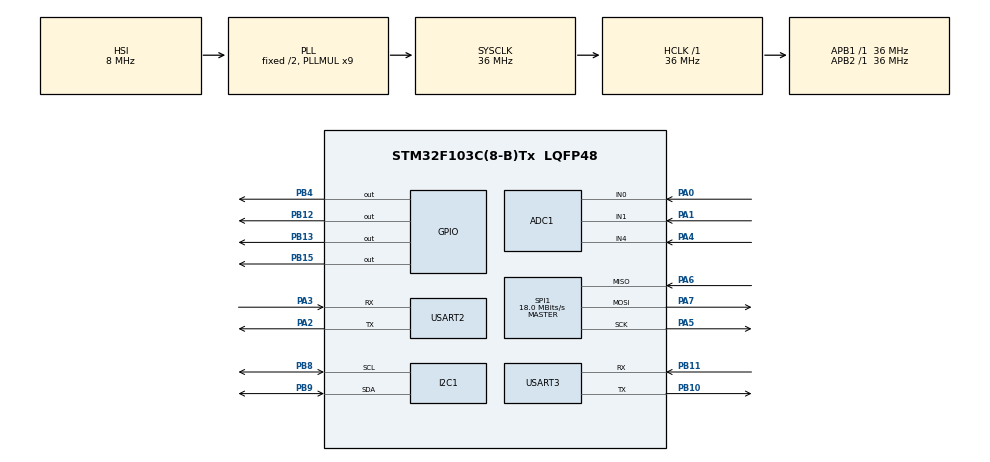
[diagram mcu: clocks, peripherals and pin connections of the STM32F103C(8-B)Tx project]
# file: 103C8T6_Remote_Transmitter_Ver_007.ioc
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ADC1.Channel-0\#ChannelRegularConversion=ADC_CHANNEL_0
ADC1.NbrOfConversionFlag=1
ADC1.Rank-0\#ChannelRegularConversion=1
ADC1.SamplingTime-0\#ChannelRegularConversion=ADC_SAMPLETIME_239CYCLES_5
ADC1.master=1
Mcu.Family=STM32F1
Mcu.Name=STM32F103C(8-B)Tx
Mcu.Package=LQFP48
NVIC.PriorityGroup=NVIC_PRIORITYGROUP_4
NVIC.USART3_IRQn=true\:0\:0\:false\:false\:true\:true\:true\:true
PA0-WKUP.Signal=ADCx_IN0
PA1.Signal=ADCx_IN1
PA13.Mode=Serial_Wire
PA13.Signal=SYS_JTMS-SWDIO
PA14.Mode=Serial_Wire
PA14.Signal=SYS_JTCK-SWCLK
PA2.Mode=Asynchronous
PA2.Signal=USART2_TX
PA3.Mode=Asynchronous
PA3.Signal=USART2_RX
PA4.Signal=ADCx_IN4
PA5.Mode=Full_Duplex_Master
PA5.Signal=SPI1_SCK
PA6.Mode=Full_Duplex_Master
PA6.Signal=SPI1_MISO
PA7.Mode=Full_Duplex_Master
PA7.Signal=SPI1_MOSI
PB10.Mode=Asynchronous
PB10.Signal=USART3_TX
PB11.Mode=Asynchronous
PB11.Signal=USART3_RX
PB12.Signal=GPIO_Output
PB13.Signal=GPIO_Output
PB15.Signal=GPIO_Output
PB4.Signal=GPIO_Output
PB8.Mode=I2C
PB8.Signal=I2C1_SCL
PB9.Mode=I2C
PB9.Signal=I2C1_SDA
PC14-OSC32_IN.Mode=LSE-External-Oscillator
PC14-OSC32_IN.Signal=RCC_OSC32_IN
PC15-OSC32_OUT.Mode=LSE-External-Oscillator
PC15-OSC32_OUT.Signal=RCC_OSC32_OUT
PD0-OSC_IN.Mode=HSE-External-Oscillator
PD0-OSC_IN.Signal=RCC_OSC_IN
PD1-OSC_OUT.Mode=HSE-External-Oscillator
PD1-OSC_OUT.Signal=RCC_OSC_OUT
ProjectManager.HeapSize=0x200
ProjectManager.StackSize=0x400
ProjectManager.TargetToolchain=STM32CubeIDE
RCC.ADCPresc=RCC_ADCPCLK2_DIV4
RCC.AHBFreq_Value=36000000
RCC.APB1Freq_Value=36000000
RCC.APB1TimFreq_Value=36000000
RCC.APB2Freq_Value=36000000
RCC.APB2TimFreq_Value=36000000
RCC.HCLKFreq_Value=36000000
RCC.PLLMUL=RCC_PLL_MUL9
RCC.SYSCLKFreq_VALUE=36000000
RCC.SYSCLKSource=RCC_SYSCLKSOURCE_PLLCLK
RCC.USBFreq_Value=36000000
SH.ADCx_IN0.0=ADC1_IN0,IN0
SH.ADCx_IN1.0=ADC1_IN1,IN1
SH.ADCx_IN4.0=ADC1_IN4,IN4
SPI1.CalculateBaudRate=18.0 MBits/s
SPI1.Direction=SPI_DIRECTION_2LINES
SPI1.Mode=SPI_MODE_MASTER
SPI1.VirtualType=VM_MASTER
USART2.VirtualMode=VM_ASYNC
USART3.VirtualMode=VM_ASYNC
board=custom

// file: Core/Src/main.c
/* USER CODE BEGIN Header */
/**
 ******************************************************************************
 * @file           : main.c
 * @brief          : Main program body
 ******************************************************************************
 * @attention
 *
 * Copyright (c) 2025 STMicroelectronics.
 * All rights reserved.
 *
 * This software is licensed under terms that can be found in the LICENSE file
 * in the root directory of this software component.
 * If no LICENSE file comes with this software, it is provided AS-IS.
 *
 ******************************************************************************
 */
/* USER CODE END Header */
#include "main.h"

/* USER CODE BEGIN Includes */
#include "ssd1306.h"
#include <string.h>
#include <stdio.h>
#include <stdlib.h>
#include <stdint.h>
/* USER CODE END Includes */

/* USER CODE BEGIN PTD */
void Run_NRF24_Test(void);
uint8_t nrf24_read_reg(uint8_t reg);
void nrf24_write_reg(uint8_t reg, uint8_t value);
/* USER CODE END PTD */

/* USER CODE BEGIN PD */
#define LED_PORT   GPIOB
#define LED_PIN    GPIO_PIN_4

#define BUZZ_PORT  GPIOB
#define BUZZ_PIN   GPIO_PIN_14

#define NRF_CMD_R_REGISTER   0x00
#define NRF_CMD_W_REGISTER   0x20

#define NRF_REG_CONFIG       0x00
#define NRF_REG_RF_CH        0x05
#define NRF_REG_RF_SETUP     0x06
#define NRF_REG_STATUS       0x07

// --- nRF24 pin mapping (we are using: CSN=PB12, CE=PB13) ---
#define NRF_CSN_PORT         GPIOB
#define NRF_CSN_PIN          GPIO_PIN_12

#define NRF_CE_PORT          GPIOB
#define NRF_CE_PIN           GPIO_PIN_13

// helper macros
#define CE_HIGH()  HAL_GPIO_WritePin(NRF_CE_PORT, NRF_CE_PIN, GPIO_PIN_SET)
#define CE_LOW()   HAL_GPIO_WritePin(NRF_CE_PORT, NRF_CE_PIN, GPIO_PIN_RESET)
#define CSN_HIGH() HAL_GPIO_WritePin(NRF_CSN_PORT, NRF_CSN_PIN, GPIO_PIN_SET)
#define CSN_LOW()  HAL_GPIO_WritePin(NRF_CSN_PORT, NRF_CSN_PIN, GPIO_PIN_RESET)

/* USER CODE END PD */

ADC_HandleTypeDef hadc1;

I2C_HandleTypeDef hi2c1;

SPI_HandleTypeDef hspi1;

UART_HandleTypeDef huart2;
UART_HandleTypeDef huart3;

/* USER CODE BEGIN PV */
#define RBUF_SIZE 256
volatile uint8_t rbuf[RBUF_SIZE];
volatile uint16_t rhead = 0, rtail = 0;

/* rx byte for interrupt */
uint8_t rx3_byte;

/* temporary line parser */
char line[48];
uint8_t line_idx = 0;

uint8_t cursor = 1;
uint8_t menu = 0; // 0 = main menu displayed (after unlock), 1 = test equipment submenu
int ui_state = 0; // 0 = locked/idle, 1 = Number Mode, 2 = Arrow Mode, 3 = Unlocked (menu active)

/* button counting */
int btn_counts[10]; // index by button ID 1..9 (we'll ignore 0)
uint32_t last_digit_time = 0; // rate limit for number entry (ms)
char passbuf[5]; // 4 digits + terminator
uint8_t passlen = 0;
uint8_t nrf_menu = 0;   // 0 = main, 1 = NRF submenu

/* USER CODE END PV */

void SystemClock_Config(void);
static void MX_GPIO_Init(void);
static void MX_ADC1_Init(void);
static void MX_I2C1_Init(void);
static void MX_SPI1_Init(void);
static void MX_USART2_UART_Init(void);
static void MX_USART3_UART_Init(void);
/* USER CODE BEGIN PFP */
static inline void UART2_Print(const char *s);
void reset_all_btn_counts(void);

void Error_Handler(void);
static inline void rbuf_push(uint8_t b);
static inline int rbuf_pop(uint8_t *out);
void UART3_Send(char *s);
void ShowMainMenu(uint8_t sel);
void ShowTestEquipmentMenu(uint8_t sel);
void DrawPassScreen(void);
void OLED_PrintCenteredLine(uint8_t y, const char *s);
void ResetToPasscodeScreen(void);
void Run_Joystick_Test(void);
void Run_NRF24_Test(void);
uint8_t nrf24_read_reg(uint8_t reg);
void nrf24_write_reg(uint8_t reg, uint8_t value);
void Run_ESP32_Serial_Test(void);
void Run_Pot_Test(void);
void Run_LED_Test();
void Run_Buzzer_Test();
void Run_NRF_Joystick_Control(void);
void nrf24_send(const char *data);
void nrf24_init_tx(void);
void Run_NRF_Joystick_Control(void);
void Run_NRF_Button_Control(void);
void Run_NRF_Gyro_Control(void);
void ShowNRFControlMenu(uint8_t sel);
void nrf24_enable_dynamic_payload();
/* USER CODE END PFP */

int main(void) {

	/* MCU Configuration--------------------------------------------------------*/

	/* Reset of all peripherals, Initializes the Flash interface and the Systick. */
	HAL_Init();

	/* Configure the system clock */
	SystemClock_Config();

	/* Initialize all configured peripherals */
	MX_GPIO_Init();
	MX_ADC1_Init();
	MX_I2C1_Init();
	MX_SPI1_Init();
	MX_USART2_UART_Init();
	MX_USART3_UART_Init();
	/* USER CODE BEGIN 2 */
	HAL_UART_Receive_IT(&huart3, &rx3_byte, 1);

	// init SSD1306
	SSD1306_Init();

	// startup banner on OLED and UART2
	SSD1306_Clear();
	SSD1306_WriteStringXY(0, 0, "Rover Transmitter:");
	SSD1306_WriteStringXY(0, 20, "ESP32 <-> STM32");     // increased gap
	SSD1306_Update();

	HAL_Delay(5000);

	UART2_Print("=====================================\r\n");
	UART2_Print("Serial Communication of ESP32 and STM32\r\n");
	UART2_Print("RX = PB11   (STM32 RX <- ESP TX)\r\n");
	UART2_Print("TX = PB10   (STM32 TX -> ESP RX)\r\n");
	UART2_Print("=====================================\r\n");

	// Initial locked pass screen
	memset(btn_counts, 0, sizeof(btn_counts));
	ui_state = 0; // locked idle
	memset(passbuf, 0, sizeof(passbuf));
	passlen = 0;

	SSD1306_Clear();
	SSD1306_WriteStringXY(0, 0, "Welcome");
	SSD1306_WriteStringXY(0, 12, "Press BTN:3 x5 ->");
	SSD1306_WriteStringXY(0, 24, "Number Mode");
	SSD1306_WriteStringXY(0, 36, "Press BTN:1 x5 ->");
	SSD1306_WriteStringXY(0, 48, "Arrow Mode");
	SSD1306_Update();

	/* USER CODE END 2 */

	/* Infinite loop */
	while (1) {

		/* USER CODE BEGIN 3 */

		uint8_t ch;

		/* ---------- HANDLE SERIAL INPUT (ESP32 BTN:n) ---------- */
		while (rbuf_pop(&ch)) {
			if (ch == '\n') {
				line[line_idx] = 0;
				line_idx = 0;

				char outline[64];
				snprintf(outline, sizeof(outline), "RX3: %s\r\n", line);
				UART2_Print(outline);

				if (strncmp(line, "BTN:", 4) == 0) {
					if (btn_counts[9] >= 10) {
						ResetToPasscodeScreen();
						continue;
					}

					int bid = atoi(&line[4]);
					if (bid >= 1 && bid <= 9) {
						btn_counts[bid]++;

						char tmp[48];
						snprintf(tmp, sizeof(tmp), "BTN %d count=%d\r\n", bid,
								btn_counts[bid]);
						UART2_Print(tmp);

						/* Mode triggers (long-press style) */
						if (btn_counts[1] >= 5) {
							ui_state = 2; // Arrow mode
							btn_counts[1] = 0;
							SSD1306_Clear();
							SSD1306_WriteStringXY(0, 0, "MODE: ARROW");
							SSD1306_WriteStringXY(0, 14, "Buttons as arrows");
							SSD1306_Update();
							HAL_Delay(600);
							ShowMainMenu(cursor);
							reset_all_btn_counts();
							continue;
						}
						if (btn_counts[3] >= 5) {
							ui_state = 1; // Number mode
							btn_counts[3] = 0;
							memset(passbuf, 0, sizeof(passbuf));
							passlen = 0;
							DrawPassScreen();
							reset_all_btn_counts();
							continue;
						}

						/* NUMBER MODE: enter pass digits */
						if (ui_state == 1) {
							uint32_t now = HAL_GetTick();
							if (now - last_digit_time >= 200) {
								if (passlen < 4) {
									passbuf[passlen++] = '0' + bid;
									passbuf[passlen] = 0;
									last_digit_time = now;
									DrawPassScreen();
								}

								if (passlen == 4) {
									if (strcmp(passbuf, "9985") == 0) {
										UART2_Print("PASS OK\r\n");
										ui_state = 3;
										menu = 0;
										cursor = 1;
										ShowMainMenu(cursor);
									} else {
										UART2_Print("PASS WRONG\r\n");
										passlen = 0;
										memset(passbuf, 0, sizeof(passbuf));
										DrawPassScreen();
									}
								}
							}
							continue;
						}

						/* NRF submenu via buttons (when shown): up/down/back/enter */
						if (ui_state == 3 && nrf_menu == 1) {
							switch (bid) {
							case 2: // UP
								cursor--;
								if (cursor < 1)
									cursor = 3;
								ShowNRFControlMenu(cursor);
								break;
							case 8: // DOWN
								cursor++;
								if (cursor > 3)
									cursor = 1;
								ShowNRFControlMenu(cursor);
								break;
							case 7: // BACK
								nrf_menu = 0;
								cursor = 1;
								ShowMainMenu(cursor);
								break;
							case 5: // ENTER -> run selected NRF mode
								if (cursor == 1)
									Run_NRF_Joystick_Control();
								else if (cursor == 2)
									Run_NRF_Button_Control();
								else if (cursor == 3)
									Run_NRF_Gyro_Control();
								/* after returning, re-open submenu */
								ShowNRFControlMenu(cursor);
								break;
							}
							continue;
						}

						/* NORMAL MENU HANDLING (arrow/button mode and menu active) */
						if (ui_state == 2 || ui_state == 3) {
							switch (bid) {
							case 2: // UP
								if (menu == 0) {
									cursor--;
									if (cursor < 1)
										cursor = 3;
									ShowMainMenu(cursor);
								} else { // test equipment menu
									cursor--;
									if (cursor < 1)
										cursor = 6;
									ShowTestEquipmentMenu(cursor);
								}
								break;

							case 8: // DOWN
								if (menu == 0) {
									cursor++;
									if (cursor > 3)
										cursor = 1;
									ShowMainMenu(cursor);
								} else {
									cursor++;
									if (cursor > 6)
										cursor = 1;
									ShowTestEquipmentMenu(cursor);
								}
								break;

							case 5: // ENTER
								if (menu == 0) {
									if (cursor == 1) {
										menu = 1;
										cursor = 1;
										ShowTestEquipmentMenu(cursor);
									} else if (cursor == 2) {
										nrf_menu = 1;
										cursor = 1;
										ShowNRFControlMenu(cursor);
									} else if (cursor == 3) {
										UART2_Print("Autonomous\n");
									}
								} else { // menu == 1: launch test
									if (cursor == 1)
										Run_Joystick_Test();
									else if (cursor == 2)
										Run_ESP32_Serial_Test();
									else if (cursor == 3)
										Run_NRF24_Test();
									else if (cursor == 4)
										Run_Pot_Test();
									else if (cursor == 5)
										Run_LED_Test();
									else if (cursor == 6)
										Run_Buzzer_Test();

									/* refresh menu display after returning from test */
									ShowTestEquipmentMenu(cursor);
								}
								break;

							case 7: // BACK
								if (menu == 1) {
									menu = 0;
									cursor = 1;
									ShowMainMenu(cursor);
								}
								break;
							}
							continue;
						}
					}
				}
			} else if (ch != '\r') {
				if (line_idx < sizeof(line) - 1)
					line[line_idx++] = ch;
				else
					line_idx = 0;
			}
		} // end serial handling

		/* ---------- JOYSTICK NAVIGATION (only when unlocked) ---------- */
		if (ui_state == 3) {
			ADC_ChannelConfTypeDef sConfig = { 0 };
			sConfig.Channel = ADC_CHANNEL_0; // Y-axis
			sConfig.Rank = ADC_REGULAR_RANK_1;
			sConfig.SamplingTime = ADC_SAMPLETIME_55CYCLES_5;
			HAL_ADC_ConfigChannel(&hadc1, &sConfig);

			HAL_ADC_Start(&hadc1);
			HAL_ADC_PollForConversion(&hadc1, HAL_MAX_DELAY);
			uint16_t joyY = HAL_ADC_GetValue(&hadc1);
			HAL_ADC_Stop(&hadc1);

			int16_t dy = (int16_t) joyY - 2700;
			const int threshold = 600;

			static uint32_t lastJoyMove = 0;
			uint32_t now = HAL_GetTick();

			if (now - lastJoyMove > 250) {
				/* NRF submenu navigation (if active) */
				if (nrf_menu == 1) {
					if (dy < -threshold) {
						cursor--;
						if (cursor < 1)
							cursor = 3;
						ShowNRFControlMenu(cursor);
						lastJoyMove = now;
					} else if (dy > threshold) {
						cursor++;
						if (cursor > 3)
							cursor = 1;
						ShowNRFControlMenu(cursor);
						lastJoyMove = now;
					}
				}
				/* Normal menu navigation */
				else {
					if (dy < -threshold) { // move up
						cursor--;
						if (menu == 0) {
							if (cursor < 1)
								cursor = 3;
							ShowMainMenu(cursor);
						} else {
							if (cursor < 1)
								cursor = 6;
							ShowTestEquipmentMenu(cursor);
						}
						lastJoyMove = now;
					} else if (dy > threshold) { // move down
						cursor++;
						if (menu == 0) {
							if (cursor > 3)
								cursor = 1;
							ShowMainMenu(cursor);
						} else {
							if (cursor > 6)
								cursor = 1;
							ShowTestEquipmentMenu(cursor);
						}
						lastJoyMove = now;
					}
				}
			}
		}

		/* small sleep to reduce tight-loop CPU usage */
		HAL_Delay(1);
	}
	/* USER CODE END 3 */
}

void SystemClock_Config(void) {
	RCC_OscInitTypeDef RCC_OscInitStruct = { 0 };
	RCC_ClkInitTypeDef RCC_ClkInitStruct = { 0 };
	RCC_PeriphCLKInitTypeDef PeriphClkInit = { 0 };

	/** Initializes the RCC Oscillators according to the specified parameters
	 * in the RCC_OscInitTypeDef structure.
	 */
	RCC_OscInitStruct.OscillatorType = RCC_OSCILLATORTYPE_HSI;
	RCC_OscInitStruct.HSIState = RCC_HSI_ON;
	RCC_OscInitStruct.HSICalibrationValue =
	RCC_HSICALIBRATION_DEFAULT;
	RCC_OscInitStruct.PLL.PLLState = RCC_PLL_ON;
	RCC_OscInitStruct.PLL.PLLSource = RCC_PLLSOURCE_HSI_DIV2;
	RCC_OscInitStruct.PLL.PLLMUL = RCC_PLL_MUL9;
	if (HAL_RCC_OscConfig(&RCC_OscInitStruct) != HAL_OK) {
		Error_Handler();
	}

	/** Initializes the CPU, AHB and APB buses clocks
	 */
	RCC_ClkInitStruct.ClockType = RCC_CLOCKTYPE_HCLK | RCC_CLOCKTYPE_SYSCLK
			| RCC_CLOCKTYPE_PCLK1 | RCC_CLOCKTYPE_PCLK2;
	RCC_ClkInitStruct.SYSCLKSource = RCC_SYSCLKSOURCE_PLLCLK;
	RCC_ClkInitStruct.AHBCLKDivider = RCC_SYSCLK_DIV1;
	RCC_ClkInitStruct.APB1CLKDivider = RCC_HCLK_DIV1;
	RCC_ClkInitStruct.APB2CLKDivider = RCC_HCLK_DIV1;

	if (HAL_RCC_ClockConfig(&RCC_ClkInitStruct, FLASH_LATENCY_1) != HAL_OK) {
		Error_Handler();
	}
	PeriphClkInit.PeriphClockSelection = RCC_PERIPHCLK_ADC;
	PeriphClkInit.AdcClockSelection = RCC_ADCPCLK2_DIV4;
	if (HAL_RCCEx_PeriphCLKConfig(&PeriphClkInit) != HAL_OK) {
		Error_Handler();
	}
}

static void MX_ADC1_Init(void) {

	ADC_ChannelConfTypeDef sConfig = { 0 };

	/** Common config
	 */
	hadc1.Instance = ADC1;
	hadc1.Init.ScanConvMode = ADC_SCAN_DISABLE;
	hadc1.Init.ContinuousConvMode = DISABLE;
	hadc1.Init.DiscontinuousConvMode = DISABLE;
	hadc1.Init.ExternalTrigConv = ADC_SOFTWARE_START;
	hadc1.Init.DataAlign = ADC_DATAALIGN_RIGHT;
	hadc1.Init.NbrOfConversion = 1;
	if (HAL_ADC_Init(&hadc1) != HAL_OK) {
		Error_Handler();
	}

	/** Configure Regular Channel
	 */
	sConfig.Channel = ADC_CHANNEL_0;
	sConfig.Rank = ADC_REGULAR_RANK_1;
	sConfig.SamplingTime = ADC_SAMPLETIME_239CYCLES_5;
	if (HAL_ADC_ConfigChannel(&hadc1, &sConfig) != HAL_OK) {
		Error_Handler();
	}

}

static void MX_I2C1_Init(void) {

	hi2c1.Instance = I2C1;
	hi2c1.Init.ClockSpeed = 100000;
	hi2c1.Init.DutyCycle = I2C_DUTYCYCLE_2;
	hi2c1.Init.OwnAddress1 = 0;
	hi2c1.Init.AddressingMode = I2C_ADDRESSINGMODE_7BIT;
	hi2c1.Init.DualAddressMode = I2C_DUALADDRESS_DISABLE;
	hi2c1.Init.OwnAddress2 = 0;
	hi2c1.Init.GeneralCallMode = I2C_GENERALCALL_DISABLE;
	hi2c1.Init.NoStretchMode = I2C_NOSTRETCH_DISABLE;
	if (HAL_I2C_Init(&hi2c1) != HAL_OK) {
		Error_Handler();
	}

}

static void MX_SPI1_Init(void) {

	/* SPI1 parameter configuration*/
	hspi1.Instance = SPI1;
	hspi1.Init.Mode = SPI_MODE_MASTER;
	hspi1.Init.Direction = SPI_DIRECTION_2LINES;
	hspi1.Init.DataSize = SPI_DATASIZE_8BIT;
	hspi1.Init.CLKPolarity = SPI_POLARITY_LOW;
	hspi1.Init.CLKPhase = SPI_PHASE_1EDGE;
	hspi1.Init.NSS = SPI_NSS_SOFT;
	hspi1.Init.BaudRatePrescaler = SPI_BAUDRATEPRESCALER_2;
	hspi1.Init.FirstBit = SPI_FIRSTBIT_MSB;
	hspi1.Init.TIMode = SPI_TIMODE_DISABLE;
	hspi1.Init.CRCCalculation = SPI_CRCCALCULATION_DISABLE;
	hspi1.Init.CRCPolynomial = 10;
	if (HAL_SPI_Init(&hspi1) != HAL_OK) {
		Error_Handler();
	}

}

static void MX_USART2_UART_Init(void) {

	huart2.Instance = USART2;
	huart2.Init.BaudRate = 115200;
	huart2.Init.WordLength = UART_WORDLENGTH_8B;
	huart2.Init.StopBits = UART_STOPBITS_1;
	huart2.Init.Parity = UART_PARITY_NONE;
	huart2.Init.Mode = UART_MODE_TX_RX;
	huart2.Init.HwFlowCtl = UART_HWCONTROL_NONE;
	huart2.Init.OverSampling = UART_OVERSAMPLING_16;
	if (HAL_UART_Init(&huart2) != HAL_OK) {
		Error_Handler();
	}

}

static void MX_USART3_UART_Init(void) {

	huart3.Instance = USART3;
	huart3.Init.BaudRate = 115200;
	huart3.Init.WordLength = UART_WORDLENGTH_8B;
	huart3.Init.StopBits = UART_STOPBITS_1;
	huart3.Init.Parity = UART_PARITY_NONE;
	huart3.Init.Mode = UART_MODE_TX_RX;
	huart3.Init.HwFlowCtl = UART_HWCONTROL_NONE;
	huart3.Init.OverSampling = UART_OVERSAMPLING_16;
	if (HAL_UART_Init(&huart3) != HAL_OK) {
		Error_Handler();
	}

}

static void MX_GPIO_Init(void) {
	GPIO_InitTypeDef GPIO_InitStruct = { 0 };

	/* GPIO Ports Clock Enable */
	__HAL_RCC_GPIOC_CLK_ENABLE();
	__HAL_RCC_GPIOD_CLK_ENABLE();
	__HAL_RCC_GPIOA_CLK_ENABLE();
	__HAL_RCC_GPIOB_CLK_ENABLE();

	/*Configure GPIO pin Output Level */
	HAL_GPIO_WritePin(GPIOB,
	GPIO_PIN_12 | GPIO_PIN_13 | GPIO_PIN_15 | GPIO_PIN_4, GPIO_PIN_RESET);

	/*Configure GPIO pins : PB12 PB13 PB15 PB4 */
	GPIO_InitStruct.Pin = GPIO_PIN_12 | GPIO_PIN_13 | GPIO_PIN_15 | GPIO_PIN_4;
	GPIO_InitStruct.Mode = GPIO_MODE_OUTPUT_PP;
	GPIO_InitStruct.Pull = GPIO_NOPULL;
	GPIO_InitStruct.Speed = GPIO_SPEED_FREQ_LOW;
	HAL_GPIO_Init(GPIOB, &GPIO_InitStruct);

}

/* USER CODE BEGIN 4 */
static inline void UART2_Print(const char *s) {
	HAL_UART_Transmit(&huart2, (uint8_t*) s, strlen(s),
	HAL_MAX_DELAY);
}

/* ---------- ring buffer helpers ---------- */
static inline void rbuf_push(uint8_t b) {
	uint16_t next = (rhead + 1) & (RBUF_SIZE - 1);
	if (next != rtail) {
		rbuf[rhead] = b;
		rhead = next;
	}
}

static inline int rbuf_pop(uint8_t *out) {
	if (rtail == rhead)
		return 0;
	*out = rbuf[rtail];
	rtail = (rtail + 1) & (RBUF_SIZE - 1);
	return 1;
}

/* UART3 RX complete callback */
void HAL_UART_RxCpltCallback(UART_HandleTypeDef *huart) {
	if (huart->Instance == USART3) {
		rbuf_push(rx3_byte);
		HAL_UART_Receive_IT(&huart3, &rx3_byte, 1);
	}
}

/* Send string to ESP32 (UART3) */
void UART3_Send(char *s) {
	HAL_UART_Transmit(&huart3, (uint8_t*) s, strlen(s),
	HAL_MAX_DELAY);
}

/* ---------- SSD1306 UI helpers ---------- */

void DrawPassScreen(void) {
	SSD1306_Clear();

	SSD1306_WriteStringXY(0, 0, "MODE: NUMBER");
	SSD1306_WriteStringXY(0, 12, "Enter Pass:");

	char disp[16];
	snprintf(disp, sizeof(disp), "PASS: %c%c%c%c",
			(passlen > 0 ? passbuf[0] : '_'), (passlen > 1 ? passbuf[1] : '_'),
			(passlen > 2 ? passbuf[2] : '_'), (passlen > 3 ? passbuf[3] : '_'));

	SSD1306_WriteStringXY(0, 28, disp);

	SSD1306_Update();
}

void ShowMainMenu(uint8_t sel) {
	SSD1306_Clear();
	SSD1306_WriteStringXY(0, 5,
			(sel == 1) ? "> 1) Test Equipment" : "  1) Test Equipment");
	SSD1306_WriteStringXY(0, 20,
			(sel == 2) ? "> 2) NRF Control" : "  2) NRF Control");
	SSD1306_WriteStringXY(0, 35,
			(sel == 3) ? "> 3) Autonomous Ctrl" : "  3) Autonomous Ctrl");
	SSD1306_Update();
}

void ShowTestEquipmentMenu(uint8_t sel) {
	const uint8_t total = 6;
	const uint8_t items_on_screen = 3; // show 3 items with big spacing

	SSD1306_Clear();

// ---- Determine window start ----
	uint8_t start;

	if (sel == 1)
		start = 1;
	else if (sel == total)
		start = total - 2;
	else
		start = sel - 1;

// ---- Draw visible 3 items ----
	for (uint8_t i = 0; i < items_on_screen; i++) {

		uint8_t item = start + i;
		if (item > total)
			break;

		uint8_t y = i * 21;    // <<< 2-line gap spacing

		char text[22];

		if (item == 1)
			sprintf(text, "%s 1) Test Joystick", (sel == item ? ">" : " "));
		else if (item == 2)
			sprintf(text, "%s 2) ESP32 Serial", (sel == item ? ">" : " "));
		else if (item == 3)
			sprintf(text, "%s 3) NRF Module", (sel == item ? ">" : " "));
		else if (item == 4)
			sprintf(text, "%s 4) Potentiometer", (sel == item ? ">" : " "));
		else if (item == 5)
			sprintf(text, "%s 5) Blink LED", (sel == item ? ">" : " "));
		else if (item == 6)
			sprintf(text, "%s 6) Buzzer", (sel == item ? ">" : " "));

		SSD1306_WriteStringXY(0, y, text);
	}

	SSD1306_Update();
}

void OLED_PrintCenteredLine(uint8_t y, const char *s) {
	SSD1306_Clear();
	SSD1306_WriteStringXY((128 - strlen(s) * 6) / 2, y, s);
	SSD1306_Update();
}

/* ---------- utility: reset mode counters ---------- */
void reset_all_btn_counts(void) {
	for (int i = 0; i < 10; i++)
		btn_counts[i] = 0;
}
void ResetToPasscodeScreen(void) {
// Reset all states
	ui_state = 1;   // Number mode
	menu = 0;
	cursor = 1;

// Reset password buffer
	passlen = 0;
	memset(passbuf, 0, sizeof(passbuf));

// Clear button counters
	reset_all_btn_counts();

// OLED message
	SSD1306_Clear();
	SSD1306_WriteStringXY(0, 0, "RESET TRIGGERED");
	SSD1306_WriteStringXY(0, 14, "Returning to");
	SSD1306_WriteStringXY(0, 26, "Passcode Screen...");
	SSD1306_Update();
	HAL_Delay(800);

// Now show enter-pass screen
	DrawPassScreen();

// Debug serial print
	UART2_Print("RESET → PASSCODE SCREEN\r\n");
}

// ---------- nRF24 SPI helpers ----------

uint8_t nrf24_read_reg(uint8_t reg) {
	uint8_t cmd = NRF_CMD_R_REGISTER | (reg & 0x1F);
	uint8_t val = 0xFF;

	CSN_LOW();  // CSN LOW = start SPI transaction

	HAL_SPI_Transmit(&hspi1, &cmd, 1, HAL_MAX_DELAY);
	HAL_SPI_Receive(&hspi1, &val, 1, HAL_MAX_DELAY);

	CSN_HIGH(); // CSN HIGH = end SPI transaction

	return val;
}

void nrf24_write_reg(uint8_t reg, uint8_t value)
{
    uint8_t buf[2];
    buf[0] = NRF_CMD_W_REGISTER | (reg & 0x1F);
    buf[1] = value;

    CSN_LOW();
    HAL_SPI_Transmit(&hspi1, buf, 2, HAL_MAX_DELAY);
    CSN_HIGH();
}
void nrf24_write_addr(uint8_t reg, uint8_t *addr)
{
    uint8_t cmd = NRF_CMD_W_REGISTER | (reg & 0x1F);

    CSN_LOW();
    HAL_SPI_Transmit(&hspi1, &cmd, 1, HAL_MAX_DELAY);
    HAL_SPI_Transmit(&hspi1, addr, 5, HAL_MAX_DELAY);
    CSN_HIGH();
}

void nrf24_init_tx(void)
{
    CE_LOW();
    CSN_HIGH();
    HAL_Delay(5);

    uint8_t addr[5] = {'R','X','A','A','A'};

    // Set addresses
    nrf24_write_addr(0x10, addr); // TX_ADDR
    nrf24_write_addr(0x0A, addr); // RX_ADDR_P0 (required for ACK)

    nrf24_write_reg(0x02, 0x01); // EN_RXADDR → Pipe0 enable
    nrf24_write_reg(0x01, 0x01); // EN_AA Pipe0

    nrf24_write_reg(0x04, 0x5F); // Auto retransmit
    nrf24_write_reg(0x05, 40);   // RF channel
    nrf24_write_reg(0x06, 0x06); // RF_SETUP 1Mbps 0dBm

    // Dynamic payload ON
    nrf24_enable_dynamic_payload();

    // CONFIG: PWR_UP + CRC + TX_MODE
    nrf24_write_reg(0x00, 0x0A);
    HAL_Delay(5);

    UART2_Print("NRF24 TX READY (DPL)\r\n");
}

void nrf24_enable_dynamic_payload(void)
{
    nrf24_write_reg(0x1D, 0x04); // FEATURE = EN_DPL
    nrf24_write_reg(0x1C, 0x01); // DYNPD = DPL_P0
}

void nrf24_send(const char *data)
{
    uint8_t cmd;

    // Flush TX FIFO
    cmd = 0xE1;
    CSN_LOW();
    HAL_SPI_Transmit(&hspi1, &cmd, 1, HAL_MAX_DELAY);
    CSN_HIGH();

    // Write payload
    cmd = 0xA0; // W_TX_PAYLOAD
    CSN_LOW();
    HAL_SPI_Transmit(&hspi1, &cmd, 1, HAL_MAX_DELAY);
    HAL_SPI_Transmit(&hspi1, (uint8_t*)data, strlen(data), HAL_MAX_DELAY);
    CSN_HIGH();

    // Transmit pulse
    CE_HIGH();
    HAL_Delay(2);
    CE_LOW();
}

void ShowNRFControlMenu(uint8_t sel) {
	SSD1306_Clear();
	SSD1306_WriteStringXY(0, 5,
			(sel == 1) ? "> 1) Joystick Ctrl" : "  1) Joystick Ctrl");
	SSD1306_WriteStringXY(0, 20,
			(sel == 2) ? "> 2) Button Ctrl" : "  2) Button Ctrl");
	SSD1306_WriteStringXY(0, 35,
			(sel == 3) ? "> 3) Gyro Ctrl" : "  3) Gyro Ctrl");
	SSD1306_Update();
}

void Run_Joystick_Test(void) {
	UART2_Print("=== JOYSTICK TEST STARTED ===\r\n");

	SSD1306_Clear();
	SSD1306_WriteStringXY(0, 0, "Joystick Test");
	SSD1306_WriteStringXY(0, 14, "Reading values...");
	SSD1306_Update();

	uint16_t centerY = 2700;
	uint16_t centerX = 3150;

	const int deadzone = 300;
	const int threshold = 600;

	uint16_t joyY, joyX;
	int16_t dy, dx;
	char buffer[60];

	while (1) {

		/* ========== READ BTN FROM ESP32 ========== */
		uint8_t ch;
		while (rbuf_pop(&ch)) {

			if (ch == '\n') {
				line[line_idx] = 0;
				line_idx = 0;

				if (strncmp(line, "BTN:", 4) == 0) {
					int bid = atoi(&line[4]);
					btn_counts[bid]++;

					/* EXIT ON BUTTON 7 */
					if (bid == 7) {
						btn_counts[7] = 0;
						UART2_Print("Exiting Joystick Test...\r\n");

						SSD1306_Clear();
						SSD1306_WriteStringXY(0, 0, "Exiting...");
						SSD1306_Update();

						HAL_Delay(300);
						return;
					}
				}
			} else if (ch != '\r') {
				if (line_idx < sizeof(line) - 1)
					line[line_idx++] = ch;
				else
					line_idx = 0;
			}
		}

		/* ========== READ ADC Y ========== */
		ADC_ChannelConfTypeDef sConfig = { 0 };
		sConfig.Channel = ADC_CHANNEL_0;
		sConfig.Rank = ADC_REGULAR_RANK_1;
		sConfig.SamplingTime = ADC_SAMPLETIME_55CYCLES_5;
		HAL_ADC_ConfigChannel(&hadc1, &sConfig);

		HAL_ADC_Start(&hadc1);
		HAL_ADC_PollForConversion(&hadc1, HAL_MAX_DELAY);
		joyY = HAL_ADC_GetValue(&hadc1);

		/* ========== READ ADC X ========== */
		sConfig.Channel = ADC_CHANNEL_1;
		HAL_ADC_ConfigChannel(&hadc1, &sConfig);

		HAL_ADC_Start(&hadc1);
		HAL_ADC_PollForConversion(&hadc1, HAL_MAX_DELAY);
		joyX = HAL_ADC_GetValue(&hadc1);
		HAL_ADC_Stop(&hadc1);

		/* ---------- PROCESS ---------- */
		dy = joyY - centerY;
		dx = joyX - centerX;

		if (abs(dy) < deadzone)
			dy = 0;
		if (abs(dx) < deadzone)
			dx = 0;

		if (dy < -threshold)
			sprintf(buffer, "UP      Value: 0\r\n");
		else if (dy > threshold)
			sprintf(buffer, "DOWN    Value: 4095\r\n");
		else if (dx < -threshold)
			sprintf(buffer, "RIGHT    Value: 0\r\n");
		else if (dx > threshold)
			sprintf(buffer, "LEFT   Value: 4095\r\n");
		else
			sprintf(buffer, "CENTER  Y=%u  X=%u\r\n", joyY, joyX);

		UART2_Print(buffer);

		/* ---------- OLED UPDATE ---------- */
		SSD1306_Clear();
		SSD1306_WriteStringXY(0, 0, "Joystick Test");

		if (dy < -threshold)
			SSD1306_WriteStringXY(0, 16, "UP      Val:0");
		else if (dy > threshold)
			SSD1306_WriteStringXY(0, 16, "DOWN    Val:4095");
		else if (dx < -threshold)
			SSD1306_WriteStringXY(0, 16, "RIGHT    Val:0");
		else if (dx > threshold)
			SSD1306_WriteStringXY(0, 16, "LEFT   Val:4095");
		else {
			char mid[32];
			sprintf(mid, "CEN Y=%u X=%u", joyY, joyX);
			SSD1306_WriteStringXY(0, 16, mid);
		}

		SSD1306_Update();

		HAL_Delay(120);
	}
}

void Run_ESP32_Serial_Test(void) {

	UART2_Print("=== ESP32 SERIAL TEST STARTED ===\r\n");

	SSD1306_Clear();
	SSD1306_WriteStringXY(0, 0, "ESP32 Serial Test");
	SSD1306_WriteStringXY(0, 14, "Send 1-9 from ESP");
	SSD1306_WriteStringXY(0, 26, "5x2 = Exit");
	SSD1306_Update();

	int five_press = 0;  // counter for EXIT

	line_idx = 0;

	while (1) {

		uint8_t ch;
		while (rbuf_pop(&ch)) {

			if (ch == '\n') {
				line[line_idx] = 0;
				line_idx = 0;

				// expecting BTN:X
				if (strncmp(line, "BTN:", 4) == 0) {

					int bid = atoi(&line[4]);

					char msg[32];
					snprintf(msg, sizeof(msg), "ESP Sent: %d\r\n", bid);
					UART2_Print(msg);

					// display on OLED
					SSD1306_Clear();
					SSD1306_WriteStringXY(0, 0, "ESP32 Serial Test");

					char num[16];
					sprintf(num, "Number: %d", bid);
					SSD1306_WriteStringXY(0, 16, num);
					SSD1306_WriteStringXY(0, 32, "Press 5 two times");
					SSD1306_Update();

					/* ===== EXIT LOGIC ===== */
					if (bid == 5) {
						five_press++;
						if (five_press >= 2) {
							five_press = 0;

							UART2_Print("Exiting ESP32 Serial Test...\r\n");

							SSD1306_Clear();
							SSD1306_WriteStringXY(0, 0, "Exiting...");
							SSD1306_Update();

							HAL_Delay(300);
							return;
						}
					} else {
						// print all other numbers unlimited times
						five_press = 0; // reset exit counter
					}
				}
			} else if (ch != '\r') {
				if (line_idx < sizeof(line) - 1)
					line[line_idx++] = ch;
				else
					line_idx = 0;
			}
		}

		HAL_Delay(5);
	}
}

void Run_NRF24_Test(void) {
	UART2_Print("=== nRF24 SELF TEST ===\r\n");

// Ensure correct idle states
	CSN_HIGH();
	CE_LOW();
	HAL_Delay(5);

// Write CONFIG = PWR_UP + CRC (0x0A) like your working test code
	nrf24_write_reg(NRF_REG_CONFIG, 0x0A);
	HAL_Delay(5);

// Read back registers
	uint8_t cfg = nrf24_read_reg(NRF_REG_CONFIG);
	uint8_t rfch = nrf24_read_reg(NRF_REG_RF_CH);
	uint8_t rfst = nrf24_read_reg(NRF_REG_RF_SETUP);
	uint8_t stat = nrf24_read_reg(NRF_REG_STATUS);

// Print to UART (TeraTerm)
	char msg[64];

	snprintf(msg, sizeof(msg), "CONFIG   = 0x%02X\r\n", cfg);
	UART2_Print(msg);

	snprintf(msg, sizeof(msg), "RF_CH    = 0x%02X\r\n", rfch);
	UART2_Print(msg);

	snprintf(msg, sizeof(msg), "RF_SETUP = 0x%02X\r\n", rfst);
	UART2_Print(msg);

	snprintf(msg, sizeof(msg), "STATUS   = 0x%02X\r\n", stat);
	UART2_Print(msg);

	if (cfg == 0x0A)
		UART2_Print("nRF24 DETECTED OK\r\n");
	else
		UART2_Print("nRF24 NOT RESPONDING\r\n");

// ---------- OLED DISPLAY ----------
	SSD1306_Clear();

	char line1[20];
	char line2[20];

	snprintf(line1, sizeof(line1), "CFG:%02X CH:%02X", cfg, rfch);
	snprintf(line2, sizeof(line2), "SET:%02X ST:%02X", rfst, stat);

	SSD1306_WriteStringXY(0, 14, line1);
	SSD1306_WriteStringXY(0, 28, line2);
	SSD1306_WriteStringXY(0, 42, (cfg == 0x0A) ? "DETECTED OK" : "NO RESPONSE");

	SSD1306_Update();

// ---------- WAIT FOR BUTTON 7 (BACK) ----------
	memset(btn_counts, 0, sizeof(btn_counts));
	line_idx = 0;

	while (1) {
		uint8_t ch;
		while (rbuf_pop(&ch)) {
			if (ch == '\n') {
				line[line_idx] = 0;
				line_idx = 0;

				if (strncmp(line, "BTN:", 4) == 0) {
					int bid = atoi(&line[4]);
					if (bid == 7)   // BACK button
							{
						UART2_Print("Exiting nRF24 Test...\r\n");
						HAL_Delay(200);
						return;     // go back to menu
					}
				}
			} else if (ch != '\r') {
				if (line_idx < sizeof(line) - 1)
					line[line_idx++] = ch;
				else
					line_idx = 0;
			}
		}

		HAL_Delay(1);
	}
}
void Run_Pot_Test(void) {
	UART2_Print("=== POTENTIOMETER TEST STARTED ===\r\n");

	SSD1306_Clear();
	SSD1306_WriteStringXY(0, 0, "Potentiometer Test");
	SSD1306_WriteStringXY(0, 14, "Reading A4...");
	SSD1306_Update();

	line_idx = 0;
	memset(btn_counts, 0, sizeof(btn_counts));

	ADC_ChannelConfTypeDef sConfig = { 0 };

	while (1) {
		/* ---------- CHECK FOR BACK BUTTON ---------- */
		uint8_t ch;
		while (rbuf_pop(&ch)) {
			if (ch == '\n') {
				line[line_idx] = 0;
				line_idx = 0;

				if (strncmp(line, "BTN:", 4) == 0) {
					int bid = atoi(&line[4]);

					if (bid == 7) {
						UART2_Print("Exiting Pot Test...\r\n");

						SSD1306_Clear();
						SSD1306_WriteStringXY(0, 0, "Exiting...");
						SSD1306_Update();

						HAL_Delay(300);
						return;
					}
				}
			} else if (ch != '\r') {
				if (line_idx < sizeof(line) - 1)
					line[line_idx++] = ch;
				else
					line_idx = 0;
			}
		}

		/* ---------- ADC READ (A4 = ADC1_IN4) ---------- */
		sConfig.Channel = ADC_CHANNEL_4;
		sConfig.Rank = ADC_REGULAR_RANK_1;
		sConfig.SamplingTime = ADC_SAMPLETIME_55CYCLES_5;
		HAL_ADC_ConfigChannel(&hadc1, &sConfig);

		HAL_ADC_Start(&hadc1);
		HAL_ADC_PollForConversion(&hadc1, HAL_MAX_DELAY);
		uint16_t pot = HAL_ADC_GetValue(&hadc1);
		HAL_ADC_Stop(&hadc1);

		/* ---------- SERIAL PRINT ---------- */
		char msg[40];
		snprintf(msg, sizeof(msg), "POT Value = %u\r\n", pot);
		UART2_Print(msg);

		/* ---------- OLED UPDATE ---------- */
		SSD1306_Clear();
		SSD1306_WriteStringXY(0, 0, "Potentiometer Test");

		char line1[20];
		sprintf(line1, "RAW: %u", pot);
		SSD1306_WriteStringXY(0, 16, line1);

		/* Percentage (0–4095) */
		uint8_t percent = (pot * 100) / 4095;

		char line2[20];
		sprintf(line2, "PERC: %d%%", percent);
		SSD1306_WriteStringXY(0, 32, line2);

		SSD1306_WriteStringXY(0, 50, "Press 7 to Back");

		SSD1306_Update();

		HAL_Delay(150);
	}
}
void Run_LED_Test(void) {
	UART2_Print("=== LED TEST STARTED ===\r\n");

	SSD1306_Clear();
	SSD1306_WriteStringXY(0, 0, "LED Test (PB4)");
	SSD1306_WriteStringXY(0, 14, "Blinking every");
	SSD1306_WriteStringXY(0, 28, "500 ms...");
	SSD1306_WriteStringXY(0, 50, "Press 7 to Exit");
	SSD1306_Update();

	line_idx = 0;

	while (1) {
// Read ESP32 BTN input
		uint8_t ch;
		while (rbuf_pop(&ch)) {
			if (ch == '\n') {
				line[line_idx] = 0;
				line_idx = 0;

				if (strncmp(line, "BTN:", 4) == 0) {
					int bid = atoi(&line[4]);
					if (bid == 7) {
						UART2_Print("Exiting LED Test...\r\n");
						HAL_GPIO_WritePin(LED_PORT, LED_PIN, GPIO_PIN_RESET);
						HAL_Delay(200);
						return;
					}
				}
			} else if (ch != '\r') {
				if (line_idx < sizeof(line) - 1)
					line[line_idx++] = ch;
				else
					line_idx = 0;
			}
		}

		HAL_GPIO_TogglePin(LED_PORT, LED_PIN);
		HAL_Delay(500);
	}
}

void Run_Buzzer_Test(void) {
	UART2_Print("=== BUZZER TEST STARTED ===\r\n");

	SSD1306_Clear();
	SSD1306_WriteStringXY(0, 0, "Buzzer Test (PB15)");
	SSD1306_WriteStringXY(0, 14, "Buzzing every");
	SSD1306_WriteStringXY(0, 28, "500 ms...");
	SSD1306_WriteStringXY(0, 50, "Press 7 to Exit");
	SSD1306_Update();

	line_idx = 0;

	while (1) {
		uint8_t ch;
		while (rbuf_pop(&ch)) {
			if (ch == '\n') {
				line[line_idx] = 0;
				line_idx = 0;

				if (strncmp(line, "BTN:", 4) == 0) {
					int bid = atoi(&line[4]);
					if (bid == 7) {
						UART2_Print("Exiting Buzzer Test...\r\n");
						HAL_GPIO_WritePin(BUZZ_PORT, BUZZ_PIN, GPIO_PIN_RESET);
						HAL_Delay(200);
						return;
					}
				}
			} else if (ch != '\r') {
				if (line_idx < sizeof(line) - 1)
					line[line_idx++] = ch;
				else
					line_idx = 0;
			}
		}

		HAL_GPIO_TogglePin(BUZZ_PORT, BUZZ_PIN);
		HAL_Delay(500);
	}
}
void Run_NRF_Joystick_Control(void) {

	UART2_Print("=== NRF JOYSTICK CONTROL ===\r\n");
	nrf24_init_tx();

	SSD1306_Clear();
	SSD1306_WriteStringXY(0, 0, "NRF JOYSTICK CTRL");
	SSD1306_WriteStringXY(0, 14, "Calibrating...");
	SSD1306_Update();

	HAL_Delay(300);

	/* --- AUTO CALIBRATION --- */
	ADC_ChannelConfTypeDef sConfig = { 0 };

	// Y center
	sConfig.Channel = ADC_CHANNEL_0;
	sConfig.Rank = ADC_REGULAR_RANK_1;
	HAL_ADC_ConfigChannel(&hadc1, &sConfig);
	HAL_ADC_Start(&hadc1);
	HAL_ADC_PollForConversion(&hadc1, HAL_MAX_DELAY);
	uint16_t centerY = HAL_ADC_GetValue(&hadc1);

	// X center
	sConfig.Channel = ADC_CHANNEL_1;
	HAL_ADC_ConfigChannel(&hadc1, &sConfig);
	HAL_ADC_Start(&hadc1);
	HAL_ADC_PollForConversion(&hadc1, HAL_MAX_DELAY);
	uint16_t centerX = HAL_ADC_GetValue(&hadc1);
	HAL_ADC_Stop(&hadc1);

	UART2_Print("Joystick Center:\r\n");
	char buff[40];
	sprintf(buff, "Y=%u X=%u\r\n", centerY, centerX);
	UART2_Print(buff);

	const int threshold = 300;

	SSD1306_Clear();
	SSD1306_WriteStringXY(0, 0, "NRF JOYSTICK CTRL");
	SSD1306_WriteStringXY(0, 14, "Move Joystick");
	SSD1306_WriteStringXY(0, 28, "BTN 7 = Back");
	SSD1306_Update();

	line_idx = 0;
	memset(btn_counts, 0, sizeof(btn_counts));

	while (1) {

		/* ---- CHECK BACK BUTTON ---- */
		uint8_t ch;
		while (rbuf_pop(&ch)) {
			if (ch == '\n') {
				line[line_idx] = 0;
				line_idx = 0;

				if (strncmp(line, "BTN:", 4) == 0) {
					int b = atoi(&line[4]);
					if (b == 7) {
						UART2_Print("Back from Joystick CTRL\r\n");
						return;
					}
				}
			} else if (ch != '\r') {
				if (line_idx < sizeof(line) - 1)
					line[line_idx++] = ch;
			}
		}

		/* ----- READ ADC VALUES ----- */
		// Read Y
		sConfig.Channel = ADC_CHANNEL_0;
		HAL_ADC_ConfigChannel(&hadc1, &sConfig);
		HAL_ADC_Start(&hadc1);
		HAL_ADC_PollForConversion(&hadc1, HAL_MAX_DELAY);
		uint16_t joyY = HAL_ADC_GetValue(&hadc1);

		// Read X
		sConfig.Channel = ADC_CHANNEL_1;
		HAL_ADC_ConfigChannel(&hadc1, &sConfig);
		HAL_ADC_Start(&hadc1);
		HAL_ADC_PollForConversion(&hadc1, HAL_MAX_DELAY);
		uint16_t joyX = HAL_ADC_GetValue(&hadc1);
		HAL_ADC_Stop(&hadc1);

		int16_t dy = joyY - centerY;
		int16_t dx = joyX - centerX;

		const char *dir;

		if (dy < -threshold)
			dir = "UP";
		else if (dy > threshold)
			dir = "DOWN";
		else if (dx < -threshold)
			dir = "LEFT";
		else if (dx > threshold)
			dir = "RIGHT";
		else
			dir = "CENTER";

		/* ---- Build full message including values ---- */
		char msg[40];
		sprintf(msg, "JOY:%s Y=%u X=%u", dir, joyY, joyX);

		/* ---- SEND VIA NRF ---- */
		nrf24_send(msg);

		/* ---- PRINT UART ---- */
		UART2_Print(msg);
		UART2_Print("\r\n");

		/* ---- OLED DISPLAY ---- */
		SSD1306_Clear();
		SSD1306_WriteStringXY(0, 0, "NRF JOYSTICK CTRL");

		char line1[20];
		sprintf(line1, "DIR: %s", dir);
		SSD1306_WriteStringXY(0, 16, line1);

		char line2[22];
		sprintf(line2, "Y=%u  X=%u", joyY, joyX);
		SSD1306_WriteStringXY(0, 30, line2);

		SSD1306_WriteStringXY(0, 50, "BTN 7 = Back");
		SSD1306_Update();

		HAL_Delay(120);
	}
}

void Run_NRF_Button_Control(void) {
	UART2_Print("=== NRF BUTTON CONTROL ===\r\n");
	nrf24_init_tx();

	SSD1306_Clear();
	SSD1306_WriteStringXY(0, 0, "BUTTON CONTROL");
	SSD1306_WriteStringXY(0, 14, "Send from ESP32");
	SSD1306_WriteStringXY(0, 28, "BTN5 x5 = Exit");
	SSD1306_Update();

	int exit5 = 0;
	line_idx = 0;

	while (1) {
		uint8_t ch;
		while (rbuf_pop(&ch)) {
			if (ch == '\n') {
				line[line_idx] = 0;
				line_idx = 0;

				if (strncmp(line, "BTN:", 4) == 0) {
					int b = atoi(&line[4]);

					const char *action;

					switch (b) {
					case 1:
						action = "BTN:RIGHT_FRONT";
						break;
					case 2:
						action = "BTN:FRONT";
						break;
					case 3:
						action = "BTN:LEFT_FRONT";
						break;
					case 4:
						action = "BTN:RIGHT";
						break;
					case 5:
						action = "BTN:STOP";
						break;
					case 6:
						action = "BTN:LEFT";
						break;
					case 7:
						action = "BTN:RIGHT_DOWN";
						break;
					case 8:
						action = "BTN:DOWN";
						break;
					case 9:
						action = "BTN:LEFT_DOWN";
						break;
					default:
						continue;
					}

					/* Print + OLED */
					UART2_Print(action);
					UART2_Print("\r\n");

					SSD1306_Clear();
					SSD1306_WriteStringXY(0, 0, "BUTTON CONTROL");
					SSD1306_WriteStringXY(0, 18, action);
					SSD1306_WriteStringXY(0, 40, "BTN5 x5 = Exit");
					SSD1306_Update();

					/* Send via NRF */
					nrf24_send(action);

					/* exit logic */
					if (b == 5) {
						exit5++;
						if (exit5 >= 5) {
							UART2_Print("Exit Button Control\r\n");
							return;
						}
					} else
						exit5 = 0;
				}
			} else if (ch != '\r') {
				if (line_idx < sizeof(line) - 1)
					line[line_idx++] = ch;
			}
		}

		HAL_Delay(5);
	}
}
void Run_NRF_Gyro_Control(void) {
	UART2_Print("=== NRF GYRO CONTROL ===\r\n");

	SSD1306_Clear();
	SSD1306_WriteStringXY(0, 0, "GYRO CONTROL");
	SSD1306_WriteStringXY(0, 14, "Not implemented");
	SSD1306_WriteStringXY(0, 28, "Press 5 to Exit");
	SSD1306_Update();

	line_idx = 0;

	while (1) {
		uint8_t ch;
		while (rbuf_pop(&ch)) {
			if (ch == '\n') {
				line[line_idx] = 0;
				line_idx = 0;

				if (strncmp(line, "BTN:", 4) == 0) {
					int b = atoi(&line[4]);

					if (b == 5)   // EXIT
							{
						UART2_Print("Exit Gyro Control\n");
						return;
					}
				}
			} else if (ch != '\r') {
				if (line_idx < sizeof(line) - 1)
					line[line_idx++] = ch;
				else
					line_idx = 0;
			}
		}
	}
}

/* USER CODE END 4 */

void Error_Handler(void) {
	__disable_irq();
	while (1) {
	}
}
